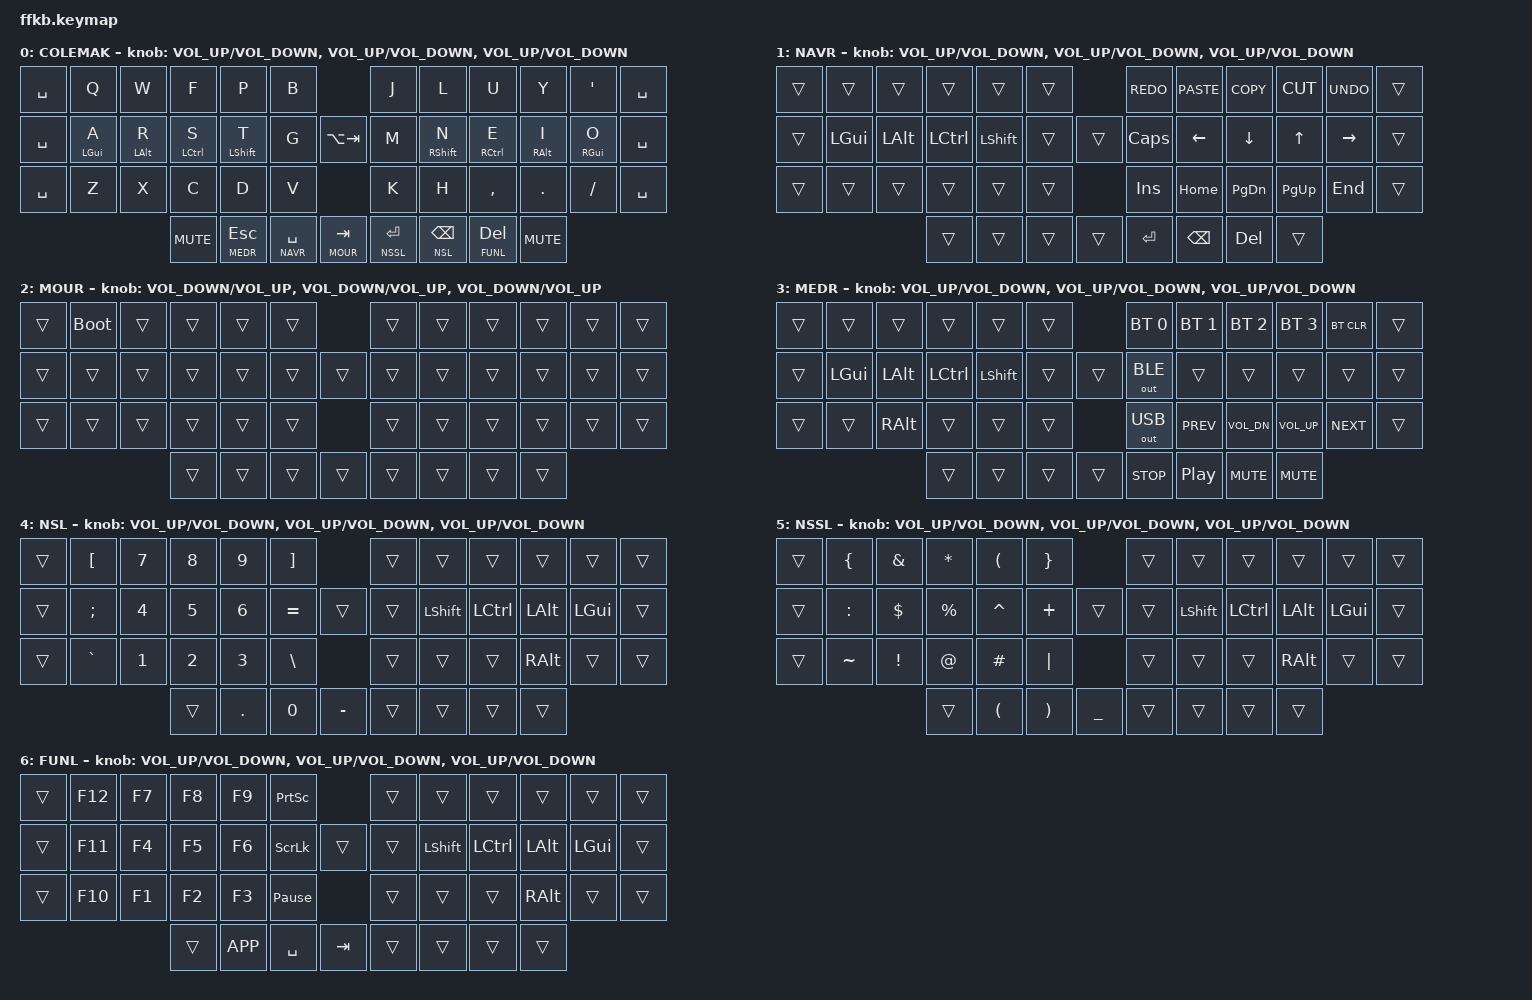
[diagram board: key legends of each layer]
#include <behaviors.dtsi>
#include <dt-bindings/zmk/keys.h>
#include <dt-bindings/zmk/bt.h>
#include <dt-bindings/zmk/ext_power.h>
#include <dt-bindings/zmk/outputs.h>

#define COLEMAK 0
#define NAVR 1
#define MOUR 2
#define MEDR 3
#define NSL  4
#define NSSL 5
#define FUNL 6

&caps_word {
    continue-list = <UNDERSCORE MINUS>;
};

/ {
    combos {
        compatible = "zmk,combos";
        combo_undo {
            timeout-ms = <50>;
            key-positions = <26 27>;
            bindings = <&kp LC(Z)>;
        };
        combo_q {
            timeout-ms = <50>;
            key-positions = <27 28>;
            bindings = <&kp Q>;
        };
        combo_semicolon {
            timeout-ms = <50>;
            key-positions = <33 34>;
            bindings = <&kp SEMI>;
        };
    };
};

/ {

    sensors {
        compatible = "zmk,keymap-sensors";
        sensors = <&encoder_1 &encoder_2 &encoder_3>;
    };

    behaviors {
        hm: homerow_mods {
            compatible = "zmk,behavior-hold-tap";
            label = "HOMEROW_MODS";
            #binding-cells = <2>;
            tapping-term-ms = <200>;
            quick_tap_ms = <0>;
            flavor = "balanced";
            bindings = <&kp>, <&kp>;
        };
        hs: homerow_shift {
            compatible = "zmk,behavior-hold-tap";
            label = "HOMEROW_SHIFT";
            #binding-cells = <2>;
            tapping-term-ms = <175>;
            quick_tap_ms = <0>;
            flavor = "balanced";
            bindings = <&kp>, <&kp>;
        };
        tm: thumbs_mods {
            compatible = "zmk,behavior-hold-tap";
            label = "THUMBS_MODS";
            #binding-cells = <2>;
            tapping-term-ms = <200>;
            quick-tap-ms = <200>;
            flavor = "tap-preferred";
            bindings = <&mo>, <&kp>;
        };
    };

    keymap {
        compatible = "zmk,keymap";

        colemak_layer {
            label = "COLEMAK";

            sensor-bindings = <&inc_dec_kp C_VOLUME_UP C_VOLUME_DOWN &inc_dec_kp C_VOLUME_UP C_VOLUME_DOWN &inc_dec_kp C_VOLUME_UP C_VOLUME_DOWN>;

            bindings = <
    &kp SPACE &kp Q        &kp W        &kp F       &kp P         &kp B                                       &kp J         &kp L        &kp U         &kp Y       &kp SQT     &kp SPACE
    &kp SPACE &hm LGUI A   &hm LALT R   &hm LCTL S  &hs LSHIFT T  &kp G            &kp LA(TAB)                &kp M         &hs RSHIFT N &hm RCTL E    &hm RALT I  &hm RGUI O  &kp SPACE
    &kp SPACE &kp Z        &kp X        &kp C       &kp D         &kp V                                       &kp K         &kp H        &kp COMMA     &kp DOT     &kp FSLH    &kp SPACE
                                        &kp C_MUTE  &tm MEDR ESC  &tm NAVR SPC &tm MOUR TAB  &tm NSSL RET   &tm NSL BSPC &tm FUNL DEL    &kp C_MUTE
            >;
        };

        navr_layer {
            label = "NAVR";

            sensor-bindings = <&inc_dec_kp C_VOLUME_UP C_VOLUME_DOWN &inc_dec_kp C_VOLUME_UP C_VOLUME_DOWN &inc_dec_kp C_VOLUME_UP C_VOLUME_DOWN>;

            bindings = <
    &trans     &trans       &trans       &trans      &trans        &trans                                      &kp K_REDO    &kp K_PASTE  &kp K_COPY    &kp K_CUT   &kp K_UNDO  &trans
    &trans     &kp LGUI     &kp LALT     &kp LCTRL   &kp LSHFT     &trans               &trans                 &kp CAPS      &kp LEFT     &kp DOWN      &kp UP      &kp RIGHT   &trans
    &trans     &trans       &trans       &trans      &trans        &trans                                      &kp INS       &kp HOME     &kp PG_DN     &kp PG_UP   &kp END     &trans
                                         &trans      &trans        &trans       &trans        &kp RET          &kp BSPC      &kp DEL      &trans
            >;
        };
        mour_layer {
            label = "MOUR"; // apparently mouse is not supported... yet?

            sensor-bindings = <&inc_dec_kp C_VOLUME_DOWN C_VOLUME_UP &inc_dec_kp C_VOLUME_DOWN C_VOLUME_UP &inc_dec_kp C_VOLUME_DOWN C_VOLUME_UP>;

            bindings = <
    &trans     &bootloader &trans      &trans      &trans      &trans                                           &trans      &trans      &trans      &trans      &trans      &trans
    &trans     &trans      &trans      &trans      &trans      &trans                   &trans                  &trans      &trans      &trans      &trans      &trans      &trans
    &trans     &trans      &trans      &trans      &trans      &trans                                           &trans      &trans      &trans      &trans      &trans      &trans
                                         &trans      &trans        &trans        &trans         &trans          &trans      &trans      &trans
            >;
        };
        medr_layer {
            label    = "MEDR";

            sensor-bindings = <&inc_dec_kp C_VOLUME_UP C_VOLUME_DOWN &inc_dec_kp C_VOLUME_UP C_VOLUME_DOWN &inc_dec_kp C_VOLUME_UP C_VOLUME_DOWN>;

            bindings = <
    &trans     &trans     &trans       &trans      &trans      &trans                                           &bt BT_SEL 0  &bt BT_SEL 1     &bt BT_SEL 2  &bt BT_SEL 3  &bt BT_CLR  &trans
    &trans     &kp LGUI   &kp LALT     &kp LCTRL   &kp LSHFT   &trans                    &trans                 &out OUT_BLE  &trans           &trans        &trans        &trans      &trans
    &trans     &trans     &kp RALT     &trans      &trans      &trans                                           &out OUT_USB  &kp C_PREV       &kp C_VOL_DN  &kp C_VOL_UP  &kp C_NEXT  &trans
                                         &trans      &trans        &trans        &trans         &kp C_STOP      &kp C_PLAY_PAUSE &kp C_MUTE  &kp C_MUTE
            >;
        };
       nsl_layer {
            label    = "NSL";

            sensor-bindings = <&inc_dec_kp C_VOLUME_UP C_VOLUME_DOWN &inc_dec_kp C_VOLUME_UP C_VOLUME_DOWN &inc_dec_kp C_VOLUME_UP C_VOLUME_DOWN>;

            bindings = <
    &trans     &kp LBKT  &kp N7 &kp N8 &kp N9 &kp RBKT               &trans  &trans    &trans    &trans   &trans   &trans
    &trans     &kp SEMI  &kp N4 &kp N5 &kp N6 &kp EQUAL   &trans     &trans  &kp LSHFT &kp LCTRL &kp LALT &kp LGUI &trans
    &trans     &kp GRAVE &kp N1 &kp N2 &kp N3 &kp BSLH               &trans  &trans    &trans    &kp RALT &trans   &trans
                         &trans   &kp DOT &kp N0 &kp MINUS         &trans  &trans  &trans &trans
            >;
        };
        nssl_layer {
            label    = "NSSL";

            sensor-bindings = <&inc_dec_kp C_VOLUME_UP C_VOLUME_DOWN &inc_dec_kp C_VOLUME_UP C_VOLUME_DOWN &inc_dec_kp C_VOLUME_UP C_VOLUME_DOWN>;

            bindings = <
    &trans     &kp LBRC  &kp AMPS &kp STAR  &kp LPAR  &kp RBRC           &trans  &trans    &trans    &trans   &trans   &trans
    &trans     &kp COLON &kp DLLR &kp PRCNT &kp CARET &kp PLUS  &trans   &trans  &kp LSHFT &kp LCTRL &kp LALT &kp LGUI &trans
    &trans     &kp TILDE &kp EXCL &kp AT    &kp HASH  &kp PIPE           &trans  &trans    &trans    &kp RALT &trans   &trans
                          &trans &kp LPAR  &kp RPAR  &kp UNDER           &trans &trans  &trans    &trans
            >;
        };
        funl_layer {
            label    = "FUNL";

            sensor-bindings = <&inc_dec_kp C_VOLUME_UP C_VOLUME_DOWN &inc_dec_kp C_VOLUME_UP C_VOLUME_DOWN &inc_dec_kp C_VOLUME_UP C_VOLUME_DOWN>;

            bindings = <
    &trans     &kp F12 &kp F7 &kp F8  &kp F9 &kp PSCRN                      &trans  &trans    &trans    &trans   &trans   &trans
    &trans     &kp F11 &kp F4 &kp F5  &kp F6 &kp SLCK        &trans         &trans  &kp LSHFT &kp LCTRL &kp LALT &kp LGUI &trans
    &trans     &kp F10 &kp F1 &kp F2  &kp F3 &kp PAUSE_BREAK                &trans  &trans    &trans    &kp RALT &trans   &trans
                        &trans &kp K_APP  &kp SPACE  &kp TAB                &trans &trans  &trans    &trans
            >;
        };

    };
};
